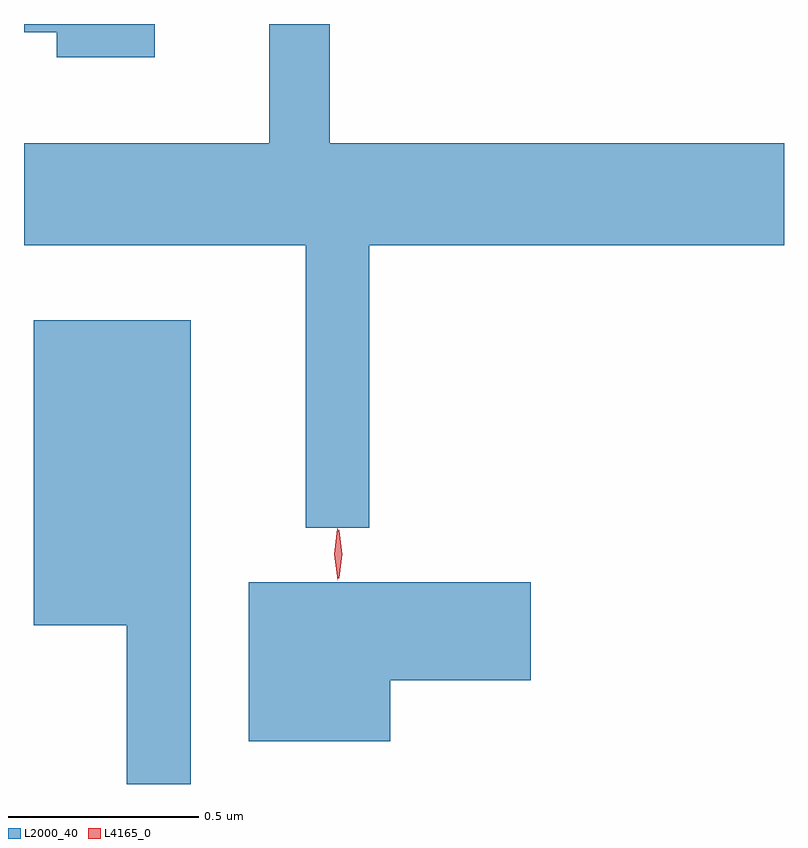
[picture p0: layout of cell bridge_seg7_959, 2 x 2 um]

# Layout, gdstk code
import gdstk
lib = gdstk.Library(unit=1e-6, precision=1e-09)
def P(c, l, *ps):  # polygons
    for p in ps: c.add(gdstk.Polygon(p, *l))
L2000_40 = (2000, 40)
L4165_0 = (4165, 0)

bridge_seg7_959 = lib.new_cell('bridge_seg7_959')
P(bridge_seg7_959, L2000_40, [(576.929,1678.796),(578.02,1678.796),(578.02,1679.064),(576.824,1679.064),(576.824,1679.378),(576.666,1679.378),(576.666,1679.064),(576.02,1679.064),(576.02,1678.796),(576.761,1678.796),(576.761,1678.053),(576.929,1678.053)],
  [(576.364,1679.378),(576.02,1679.378),(576.02,1679.356),(576.106,1679.356),(576.106,1679.291),(576.364,1679.291)],
  [(576.459,1678.599),(576.046,1678.599),(576.046,1677.796),(576.291,1677.796),(576.291,1677.378),(576.459,1677.378)],
  [(576.984,1677.651),(577.354,1677.651),(577.354,1677.909),(576.611,1677.909),(576.611,1677.491),(576.984,1677.491)])
P(bridge_seg7_959, L4165_0, [(576.848,1677.92),(576.848,1677.92),(576.838,1677.983),(576.848,1678.046),(576.848,1678.047),(576.849,1678.046),(576.858,1677.983),(576.849,1677.92)],
  [(576.845,1677.914),(576.836,1677.982),(576.844,1678.05),(576.845,1678.05),(576.846,1678.05),(576.855,1677.982),(576.846,1677.914),(576.846,1677.914)])

lib.write_gds('bridge_seg7_959.gds')
